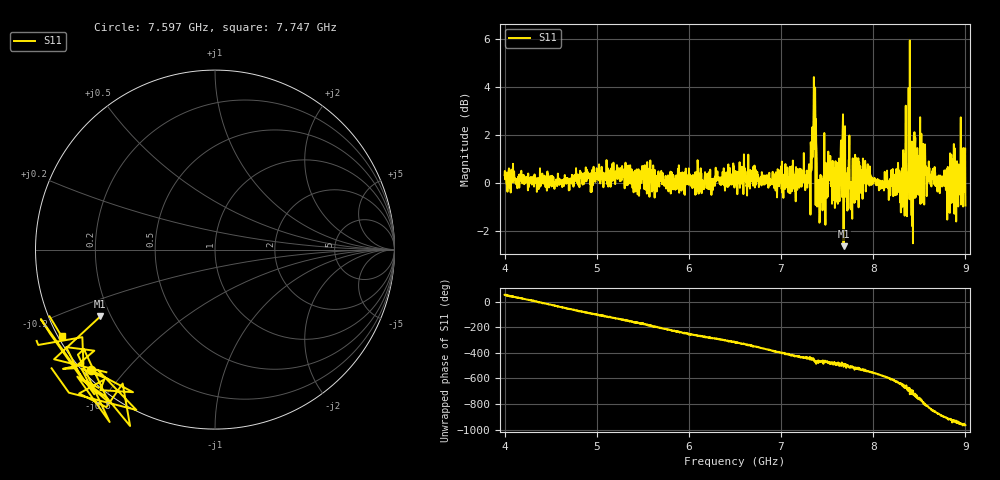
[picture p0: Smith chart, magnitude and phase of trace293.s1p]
! Created with skrf 1.8.0 (http://scikit-rf.org).
# Hz S RI R 50.0
!freq ReS11 ImS11
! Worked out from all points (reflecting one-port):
!   1601 points, 4 GHz to 9 GHz, reference 50 ohm
!   lowest |S11| = -2.6 dB at 7.678 GHz (marker M1), VSWR 6.68, Z = 8.02 - j13.2 ohm
!   phase of S11 starts at 52 deg and turns -1018 deg over the sweep
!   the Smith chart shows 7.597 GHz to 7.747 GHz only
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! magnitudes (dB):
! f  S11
! 4 GHz  0.3
! 4.625 GHz  -0.2
! 5.25 GHz  0.1
! 5.875 GHz  -0.2
! 6.5 GHz  0.4
! 7.125 GHz  -0.2
! 7.294 GHz  0.3
! 7.319 GHz  -1.3
! 7.347 GHz  2.4
! 7.359 GHz  3.1
! 7.375 GHz  -0.9
! 7.4 GHz  0.0
! 7.428 GHz  0.3
! 7.509 GHz  0.0
! 7.591 GHz  0.9
! 7.65 GHz  1.8
! 7.678 GHz  -2.6
! 7.75 GHz  -0.2
! 8.262 GHz  -0.1
! 8.316 GHz  -0.2
! 8.334 GHz  -0.1
! 8.356 GHz  0.2
! 8.375 GHz  -0.2
! 8.425 GHz  -1.8
! 8.522 GHz  2.1
! 8.806 GHz  -0.2
! 8.972 GHz  0.6
! 9 GHz  -0.9
